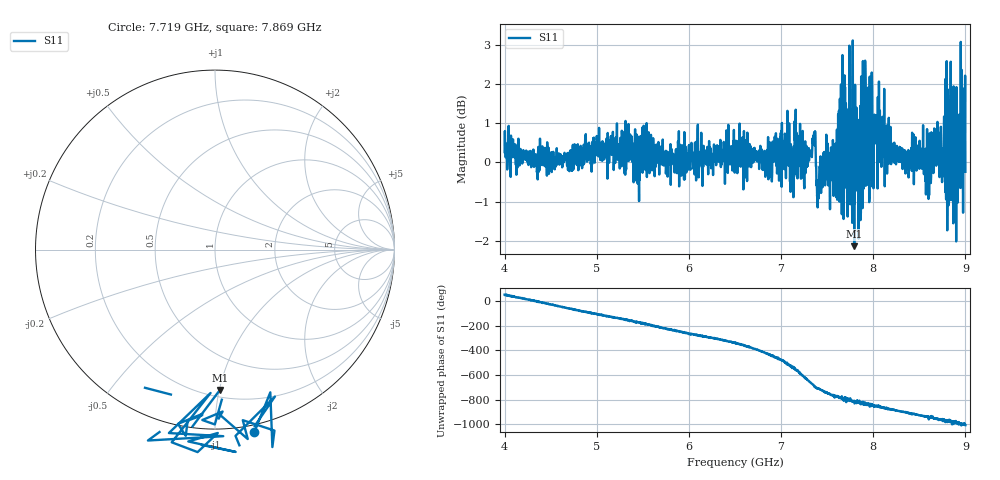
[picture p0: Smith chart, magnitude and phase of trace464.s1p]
! Created with skrf 1.8.0 (http://scikit-rf.org).
# Hz S RI R 50.0
!freq ReS11 ImS11
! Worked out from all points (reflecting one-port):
!   1601 points, 4 GHz to 9 GHz, reference 50 ohm
!   lowest |S11| = -2.1 dB at 7.794 GHz (marker M1), VSWR 8.17, Z = 12.5 - j50.2 ohm
!   phase of S11 starts at 51 deg and turns -1057 deg over the sweep
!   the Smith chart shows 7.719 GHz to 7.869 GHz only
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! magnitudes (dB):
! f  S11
! 4 GHz  0.3
! 4.625 GHz  -0.1
! 5.25 GHz  -0.2
! 5.875 GHz  0.0
! 6.5 GHz  0.3
! 6.819 GHz  0.3
! 7.066 GHz  0.3
! 7.125 GHz  0.1
! 7.172 GHz  -0.4
! 7.269 GHz  0.1
! 7.35 GHz  0.5
! 7.409 GHz  -0.9
! 7.481 GHz  0.1
! 7.591 GHz  0.5
! 7.647 GHz  0.3
! 7.719 GHz  0.3
! 7.75 GHz  -1.1
! 7.794 GHz  -2.1
! 8.038 GHz  1.0
! 8.375 GHz  0.0
! 8.447 GHz  0.1
! 8.581 GHz  -0.2
! 8.656 GHz  0.7
! 8.766 GHz  0.5
! 8.834 GHz  1.0
! 8.875 GHz  1.4
! 8.972 GHz  0.7
! 9 GHz  -0.2
